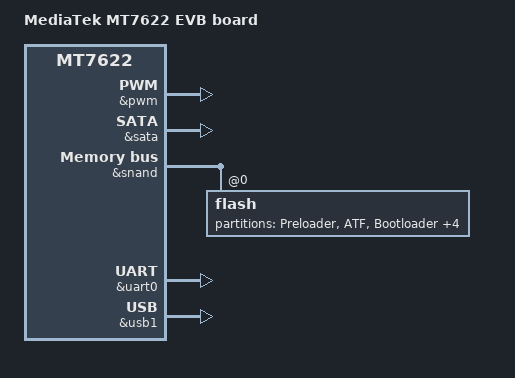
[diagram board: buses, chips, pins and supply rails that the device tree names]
/*
 * Copyright (c) 2016 MediaTek Inc.
 * Author: Ming Huang <ming.huang@mediatek.com>
 *
 * This program is free software; you can redistribute it and/or modify
 * it under the terms of the GNU General Public License version 2 as
 * published by the Free Software Foundation.
 *
 * This program is distributed in the hope that it will be useful,
 * but WITHOUT ANY WARRANTY; without even the implied warranty of
 * MERCHANTABILITY or FITNESS FOR A PARTICULAR PURPOSE.  See the
 * GNU General Public License for more details.
 */

/dts-v1/;
#include "mt7622.dtsi"
#include "mt6380.dtsi"

/ {
	model = "MediaTek MT7622 EVB board";
	compatible = "mediatek,mt7622-evb", "mediatek,mt7622";

	chosen {
		bootargs = "console=ttyS0,115200n1 root=/dev/ram \
			initrd=0x44000000,0x615E36 loglevel=8 androidboot.hardware=mt7622 swiotlb=512";
	};

	dummy_codec:dummy_codec {
		compatible = "mediatek,dummy-codec";
	};

	mmc_fixed_1v8_io: fixedregulator@0 {
		compatible = "regulator-fixed";
		regulator-name = "mmc_io";
		regulator-min-microvolt = <1800000>;
		regulator-max-microvolt = <1800000>;
		regulator-always-on;
	};

	mmc_fixed_3v3_power: fixedregulator@1 {
		compatible = "regulator-fixed";
		regulator-name = "mmc_power";
		regulator-min-microvolt = <3300000>;
		regulator-max-microvolt = <3300000>;
		regulator-always-on;
	};

	memory {
		reg = <0 0x40000000 0 0x3F000000>;
	};

	sound: sound {
		compatible = "mediatek,mt7622-soc-machine";
		mediatek,platform = <&afe>;
		mediatek,audio-codec = <&dummy_codec>;
		pinctrl-names = "default";
		pinctrl-0 = <&aud_pins_default>;
		status = "okay";
	};
};

&bch {
	status = "disabled";
};

&cpu0 {
	proc-supply = <&mt6380_vcpu_reg>;
	sram-supply = <&mt6380_vm_reg>;
};

&cpu1 {
	proc-supply = <&mt6380_vcpu_reg>;
	sram-supply = <&mt6380_vm_reg>;
};

&auxadc {
	status = "okay";
};

&efuse {
	status = "okay";
};

&eth {
	mac-address = [00 00 00 00 00 00];
	dma-coherent;
	gmac1-support = "esw";
	gmac2-support = "rgmii-2";
	rgmii-mode-2 = "an";
	gmac2-phy-address = <0x05>;
	gmac1_txq_num = <1>;
	gmac1_txq_txd_num = <2048>;
	gmac2_txq_num = <1>;
	gmac2_txq_txd_num = <1024>;
	num_rx_desc = <2048>;
	status = "okay";
	pinctrl-names = "default";
	pinctrl-0 = <&ephy_default>;
};

&gsw {
	status = "okay";
};

&i2c0 {
	pinctrl-names = "default";
	pinctrl-0 = <&i2c0_pins>;
	status = "okay";
};

&i2c1 {
	status = "okay";
};

&i2c2 {
	status = "okay";
};

&irrx {
	pinctrl-names = "default";
	pinctrl-0 = <&irrx_pins_ir_input>;
	status = "okay";
};

&mmc0 {
	pinctrl-names = "default", "state_uhs";
	pinctrl-0 = <&mmc0_pins_default>;
	pinctrl-1 = <&mmc0_pins_uhs>;
	status = "okay";
	bus-width = <8>;
	max-frequency = <50000000>;
	cap-mmc-highspeed;
	mmc-hs200-1_8v;
	vmmc-supply = <&mmc_fixed_3v3_power>;
	vqmmc-supply = <&mmc_fixed_1v8_io>;
	assigned-clocks = <&topckgen CLK_TOP_MSDC30_0_SEL>;
	assigned-clock-parents = <&topckgen CLK_TOP_UNIV48M>;
	non-removable;
};

&mmc1 {
	pinctrl-names = "default", "state_uhs";
	pinctrl-0 = <&mmc1_pins_default>;
	pinctrl-1 = <&mmc1_pins_uhs>;
	status = "okay";
	bus-width = <4>;
	max-frequency = <50000000>;
	cap-sd-highspeed;
	r_smpl = <1>;
	cd-gpios = <&pio 81 0>;
	vmmc-supply = <&mmc_fixed_3v3_power>;
	vqmmc-supply = <&mmc_fixed_3v3_power>;
	assigned-clocks = <&topckgen CLK_TOP_MSDC30_1_SEL>;
	assigned-clock-parents = <&topckgen CLK_TOP_UNIV48M>;
};

&nandc {
	pinctrl-names = "default";
	pinctrl-0 = <&nand_pins_default>;
	status = "disabled";
	flash@0 {
		reg = <0>;
		nand-ecc-mode = "hw";
		partitions {
			compatible = "fixed-partitions";
			#address-cells = <1>;
			#size-cells = <1>;

			partition@0 {
				label = "Preloader";
				reg = <0x00000 0x0080000>;
				read-only;
			};

			partition@80000 {
				label = "ATF";
				reg = <0x80000 0x0040000>;
			};

			partition@c0000 {
				label = "Bootloader";
				reg = <0xc0000 0x0080000>;
			};

			partition@140000 {
				label = "Config";
				reg = <0x140000 0x0080000>;
			};

			partition@1c0000 {
				label = "Factory";
				reg = <0x1c0000 0x0040000>;
			};

			partition@200000 {
				label = "Kernel";
				reg = <0x200000 0x2000000>;
			};

			partition@2200000 {
				label = "User_data";
				reg = <0x2200000 0x4000000>;
			};
		};
	};
};

&nor_flash {
	status = "okay";
	flash@0 {
		compatible = "jedec,spi-nor";
	};
};

&pio {
	pinctrl-names = "default";
	pinctrl-0 = <&state_default>;
	state_default:pinconf_default {
	};

	irrx_pins_ir_input: irrx_pin_ir {
		pins_cmd_dat {
			pinmux = <MT7622_PIN_100_PWM6__FUNC_IR_R>;
			bias-disable;
		};
	};

	aud_pins_default: audiodefault {
		pins_cmd_dat {
			pinmux = <MT7622_PIN_3_I2S_BCLK__FUNC_I2S_BCLK_OUT>,
				<MT7622_PIN_4_I2S_WS__FUNC_I2S_WS_OUT>,
				<MT7622_PIN_5_I2S_MCLK__FUNC_I2S_MCLK>,
				<MT7622_PIN_2_I2S1_OUT__FUNC_I2S1_OUT>,
				<MT7622_PIN_1_I2S1_IN__FUNC_I2S1_IN>;
			drive-strength = <MTK_DRIVE_12mA>;
			bias-pull-down;
		};
	};

	i2c0_pins: i2c0@0 {
		pins_bus {
			pinmux = <MT7622_PIN_14_I2C_SDA__FUNC_I2C0_SDA>,
				 <MT7622_PIN_15_I2C_SCL__FUNC_I2C0_SCL>;
			bias-disable;
		};
	};

	mmc0_pins_default: mmc0default {
		pins_cmd_dat {
			pinmux = <MT7622_PIN_47_NDL0__FUNC_EMMC_DATA0>,
			       <MT7622_PIN_48_NDL1__FUNC_EMMC_DATA1>,
			       <MT7622_PIN_49_NDL2__FUNC_EMMC_DATA2>,
			       <MT7622_PIN_50_NDL3__FUNC_EMMC_DATA3>,
			       <MT7622_PIN_40_NDL4__FUNC_EMMC_DATA4>,
			       <MT7622_PIN_41_NDL5__FUNC_EMMC_DATA5>,
			       <MT7622_PIN_42_NDL6__FUNC_EMMC_DATA6>,
			       <MT7622_PIN_43_NDL7__FUNC_EMMC_DATA7>,
			       <MT7622_PIN_44_NRB__FUNC_EMMC_CMD>;
			input-enable;
			bias-pull-up;
		};

		pins_clk {
			pinmux = <MT7622_PIN_45_NCLE__FUNC_EMMC_CK>;
			bias-pull-down;
		};
	};

	mmc0_pins_uhs: mmc0@0{
		pins_cmd_dat {
			pinmux = <MT7622_PIN_47_NDL0__FUNC_EMMC_DATA0>,
			       <MT7622_PIN_48_NDL1__FUNC_EMMC_DATA1>,
			       <MT7622_PIN_49_NDL2__FUNC_EMMC_DATA2>,
			       <MT7622_PIN_50_NDL3__FUNC_EMMC_DATA3>,
			       <MT7622_PIN_40_NDL4__FUNC_EMMC_DATA4>,
			       <MT7622_PIN_41_NDL5__FUNC_EMMC_DATA5>,
			       <MT7622_PIN_42_NDL6__FUNC_EMMC_DATA6>,
			       <MT7622_PIN_43_NDL7__FUNC_EMMC_DATA7>,
			       <MT7622_PIN_44_NRB__FUNC_EMMC_CMD>;
			input-enable;
			drive-strength = <MTK_DRIVE_4mA>;
			bias-pull-up = <MTK_PUPD_SET_R1R0_01>;
		};

		pins_clk {
			pinmux = <MT7622_PIN_45_NCLE__FUNC_EMMC_CK>;
			drive-strength = <MTK_DRIVE_4mA>;
			bias-pull-down = <MTK_PUPD_SET_R1R0_10>;
		};
	};

	mmc1_pins_default: mmc1default {
		pins_cmd_dat {
			pinmux = <MT7622_PIN_19_I2S2_OUT__FUNC_SD_D0>,
			       <MT7622_PIN_18_I2S4_IN__FUNC_SD_D1>,
			       <MT7622_PIN_17_I2S3_IN__FUNC_SD_D2>,
			       <MT7622_PIN_16_I2S2_IN__FUNC_SD_D3>,
			       <MT7622_PIN_21_I2S4_OUT__FUNC_SD_CMD>;
			input-enable;
			drive-strength = <MTK_DRIVE_8mA>;
			bias-pull-up = <MTK_PUPD_SET_R1R0_01>;
		};

		pins_clk {
			pinmux = <MT7622_PIN_20_I2S3_OUT__FUNC_SD_CLK>;
			drive-strength = <MTK_DRIVE_12mA>;
			bias-pull-down = <MTK_PUPD_SET_R1R0_10>;
		};

		pins_insert {
			pinmux = <MT7622_PIN_81_TXD3__FUNC_GPIO81>;
			bias-pull-up;
		};
	};

	mmc1_pins_uhs: mmc1@0 {
		pins_cmd_dat {
			pinmux = <MT7622_PIN_19_I2S2_OUT__FUNC_SD_D0>,
			       <MT7622_PIN_18_I2S4_IN__FUNC_SD_D1>,
			       <MT7622_PIN_17_I2S3_IN__FUNC_SD_D2>,
			       <MT7622_PIN_16_I2S2_IN__FUNC_SD_D3>,
			       <MT7622_PIN_21_I2S4_OUT__FUNC_SD_CMD>;
			input-enable;
			bias-pull-up = <MTK_PUPD_SET_R1R0_01>;
		};

		pins_clk {
			pinmux = <MT7622_PIN_20_I2S3_OUT__FUNC_SD_CLK>;
			bias-pull-down = <MTK_PUPD_SET_R1R0_10>;
		};
	};

	nand_pins_default: nanddefault {
		pins_dat {
			pinmux = <MT7622_PIN_37_NCEB__FUNC_ND_CS_N>,
				 <MT7622_PIN_38_NWEB__FUNC_ND_WE_N>,
				 <MT7622_PIN_39_NREB__FUNC_ND_RE_N>,
				 <MT7622_PIN_40_NDL4__FUNC_ND_D4>,
				 <MT7622_PIN_41_NDL5__FUNC_ND_D5>,
				 <MT7622_PIN_42_NDL6__FUNC_ND_D6>,
				 <MT7622_PIN_43_NDL7__FUNC_ND_D7>,
				 <MT7622_PIN_44_NRB__FUNC_ND_RB_N>,
				 <MT7622_PIN_45_NCLE__FUNC_ND_CLE>,
				 <MT7622_PIN_46_NALE__FUNC_ND_ALE>,
				 <MT7622_PIN_47_NDL0__FUNC_ND_D0>,
				 <MT7622_PIN_48_NDL1__FUNC_ND_D1>,
				 <MT7622_PIN_49_NDL2__FUNC_ND_D2>,
				 <MT7622_PIN_50_NDL3__FUNC_ND_D3>;
			input-enable;
			drive-strength = <MTK_DRIVE_8mA>;
			bias-pull-up;
		};
	};

	snand_pins_default: snand@0 {
		pins_cmd_dat {
			pinmux = <MT7622_PIN_8_SPI_WP__FUNC_SNFI_WP>,
				 <MT7622_PIN_9_SPI_HOLD__FUNC_SNFI_HOLD>,
				 <MT7622_PIN_11_SPI_MOSI__FUNC_SNFI_MOSI>,
				 <MT7622_PIN_12_SPI_MISO__FUNC_SNFI_MISO>,
				 <MT7622_PIN_13_SPI_CS__FUNC_SNFI_CS>;
			input-enable;
			drive-strength = <MTK_DRIVE_16mA>;
			bias-pull-up = <MTK_PUPD_SET_R1R0_01>;
		};
		pins_clk {
			pinmux = <MT7622_PIN_10_SPI_CLK__FUNC_SNFI_CLK>;
			drive-strength = <MTK_DRIVE_16mA>;
			bias-pull-down = <MTK_PUPD_SET_R1R0_10>;
		};
	};
};

&pwm {
	status = "okay";
};

&sata {
	status = "okay";
};

&sata_phy {
	status = "okay";
};

&snand {
	pinctrl-0 = <&snand_pins_default>;
	status = "okay";
	flash@0 {
		partitions {
			compatible = "fixed-partitions";
			#address-cells = <1>;
			#size-cells = <1>;

			partition@0 {
				label = "Preloader";
				reg = <0x00000 0x0080000>;
				read-only;
			};

			partition@80000 {
				label = "ATF";
				reg = <0x80000 0x0040000>;
			};

			partition@c0000 {
				label = "Bootloader";
				reg = <0xc0000 0x0080000>;
			};

			partition@140000 {
				label = "Config";
				reg = <0x140000 0x0080000>;
			};

			partition@1c0000 {
				label = "Factory";
				reg = <0x1c0000 0x0040000>;
			};

			partition@200000 {
				label = "Kernel";
				reg = <0x200000 0x2000000>;
			};

			partition@2200000 {
				label = "User_data";
				reg = <0x2200000 0x4000000>;
			};
		};
	};
};

&uart0 {
	status = "okay";
};

&pcie0 {
	pinctrl-names = "default";
	pinctrl-0 = <&pcie_pinctl0>;
};

&pcie1 {
	pinctrl-names = "default";
	pinctrl-0 = <&pcie_pinctl1>;
};

&pio {
	ephy_default: ephy_default {
		pins_eth {
			pinmux = <MT7622_PIN_23_MDC__FUNC_MDC>,
				 <MT7622_PIN_24_MDIO__FUNC_MDIO>,
				 <MT7622_PIN_25_G2_TXD0__FUNC_G2_TXD0>,
				 <MT7622_PIN_26_G2_TXD1__FUNC_G2_TXD1>,
				 <MT7622_PIN_27_G2_TXD2__FUNC_G2_TXD2>,
				 <MT7622_PIN_28_G2_TXD3__FUNC_G2_TXD3>,
				 <MT7622_PIN_29_G2_TXEN__FUNC_G2_TXEN>,
				 <MT7622_PIN_30_G2_TXC__FUNC_G2_TXC>,
				 <MT7622_PIN_31_G2_RXD0__FUNC_G2_RXD0>,
				 <MT7622_PIN_32_G2_RXD1__FUNC_G2_RXD1>,
				 <MT7622_PIN_33_G2_RXD2__FUNC_G2_RXD2>,
				 <MT7622_PIN_34_G2_RXD3__FUNC_G2_RXD3>,
				 <MT7622_PIN_35_G2_RXDV__FUNC_G2_RXDV>,
				 <MT7622_PIN_36_G2_RXC__FUNC_G2_RXC>;
		};
	};

	pcie_pinctl0: pcie0 {
		pcie0 {
			pinmux = <MT7622_PIN_80_CTS3_N__FUNC_PCIE0_PAD_CLKREQ_N>,
				 <MT7622_PIN_79_RTS3_N__FUNC_PCIE0_PAD_WAKE_N>;
		};
	};

	pcie_pinctl1: pcie1 {
		pcie1 {
			pinmux = <MT7622_PIN_15_I2C_SCL__FUNC_PCIE0_PAD_CLKREQ_N>,
				 <MT7622_PIN_14_I2C_SDA__FUNC_PCIE0_PAD_WAKE_N>;
		};
	};
};

&svs {
	vproc-supply = <&mt6380_vcpu_reg>;
};

&usb1 {
	status = "okay";
};

&u3phy1 {
	status = "okay";
};
